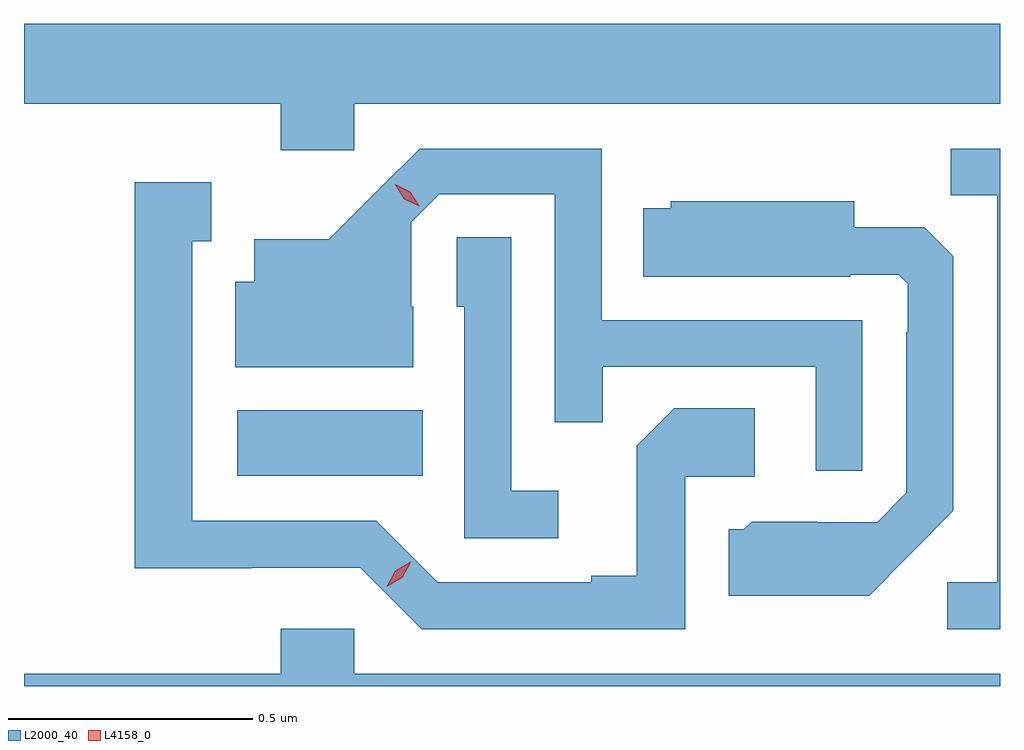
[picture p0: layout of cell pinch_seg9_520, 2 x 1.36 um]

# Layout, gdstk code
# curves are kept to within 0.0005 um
import gdstk
lib = gdstk.Library(unit=1e-6, precision=1e-09)
def R(c, l, rs):  # rectangles x0, y0, x1, y1
    for r in rs: c.add(gdstk.rectangle(r[:2], r[2:], *l))
def P(c, l, *ps):  # polygons
    for p in ps: c.add(gdstk.Polygon(p, *l))
L2000_40 = (2000, 40)
L4158_0 = (4158, 0)

pinch_seg9_520 = lib.new_cell('pinch_seg9_520')
R(pinch_seg9_520, L2000_40, [(314.088,1200.986,314.468,1201.12)])
P(pinch_seg9_520, L2000_40, [(314.328,1201.748),(315.651,1201.748),(315.651,1201.912),(313.651,1201.912),(313.651,1201.748),(314.177,1201.748),(314.177,1201.653),(314.328,1201.653)],
  [(315.651,1201.656),(315.55,1201.656),(315.55,1201.561),(315.645,1201.561),(315.645,1200.768),(315.543,1200.768),(315.543,1200.672),(315.651,1200.672)],
  [(315.369,1201.305),(314.835,1201.305),(314.835,1201.656),(314.462,1201.656),(314.275,1201.471),(314.123,1201.471),(314.123,1201.384),(314.084,1201.384),(314.084,1201.208),(314.449,1201.208),(314.449,1201.332),(314.445,1201.332),(314.445,1201.506),(314.502,1201.563),(314.739,1201.563),(314.739,1201.096),(314.837,1201.096),(314.837,1201.209),(315.273,1201.209),(315.273,1200.996),(315.369,1200.996)],
  [(315.006,1200.984),(315.148,1200.984),(315.148,1201.124),(314.983,1201.124),(314.907,1201.048),(314.907,1200.781),(314.813,1200.781),(314.813,1200.768),(314.499,1200.768),(314.373,1200.894),(313.996,1200.894),(313.996,1201.467),(314.035,1201.467),(314.035,1201.588),(313.878,1201.588),(313.878,1200.797),(314.118,1200.797),(314.118,1200.798),(314.34,1200.798),(314.466,1200.672),(315.006,1200.672)],
  [(315.463,1200.821),(315.555,1200.914),(315.555,1201.436),(315.496,1201.495),(315.352,1201.495),(315.352,1201.549),(314.976,1201.549),(314.976,1201.534),(314.92,1201.534),(314.92,1201.394),(315.344,1201.394),(315.344,1201.398),(315.444,1201.398),(315.462,1201.38),(315.462,1201.28),(315.459,1201.28),(315.459,1200.951),(315.399,1200.891),(315.276,1200.891),(315.276,1200.892),(315.142,1200.892),(315.126,1200.876),(315.095,1200.876),(315.095,1200.74),(315.383,1200.74)],
  [(314.746,1200.955),(314.649,1200.955),(314.649,1201.475),(314.538,1201.475),(314.538,1201.332),(314.553,1201.332),(314.553,1200.858),(314.746,1200.858)],
  [(315.651,1200.58),(314.328,1200.58),(314.328,1200.673),(314.177,1200.673),(314.177,1200.58),(313.651,1200.58),(313.651,1200.555),(315.651,1200.555)])
P(pinch_seg9_520, L4158_0, [(314.461,1201.538),(314.43,1201.553),(314.412,1201.582),(314.412,1201.583),(314.412,1201.583),(314.443,1201.568),(314.461,1201.539),(314.461,1201.538)],
  [(314.394,1200.759),(314.394,1200.759),(314.412,1200.791),(314.444,1200.81),(314.444,1200.81),(314.444,1200.809),(314.426,1200.777),(314.394,1200.759)])

lib.write_gds('pinch_seg9_520.gds')
